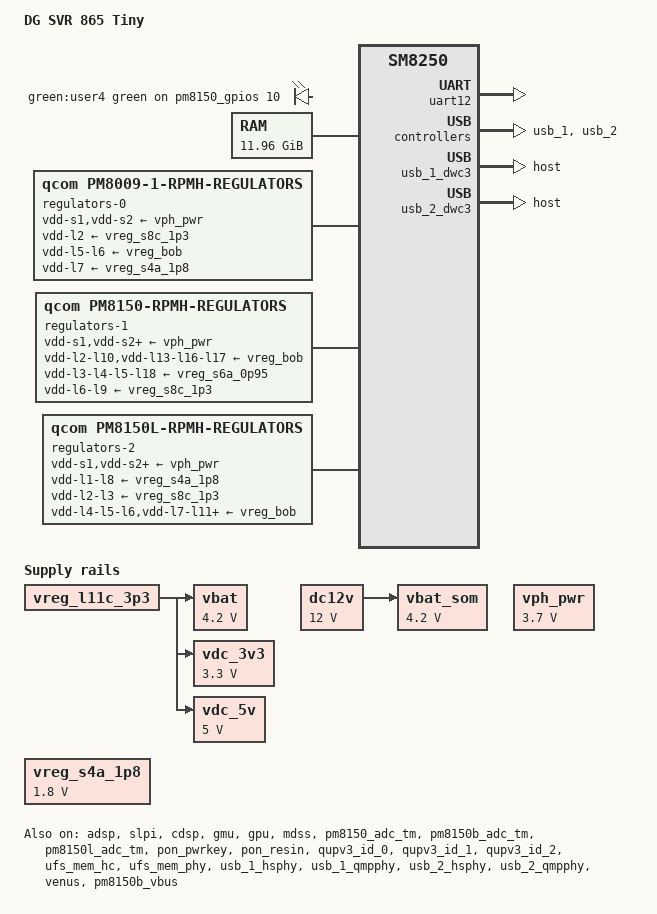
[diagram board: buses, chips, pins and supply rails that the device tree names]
// SPDX-License-Identifier: BSD-3-Clause
/*
 * Copyright (c) 2020, Linaro Ltd.
 */

/dts-v1/;

#include <dt-bindings/leds/common.h>
#include <dt-bindings/regulator/qcom,rpmh-regulator.h>
#include <dt-bindings/sound/qcom,q6afe.h>
#include <dt-bindings/sound/qcom,q6asm.h>
#include <dt-bindings/usb/pd.h>
#include "sm8250.dtsi"
#include "pm8150.dtsi"
#include "pm8150b.dtsi"
#include "pm8150l.dtsi"

/ {
	model = "DG SVR 865 Tiny";
	compatible = "qcom,qrb5165-rb5", "qcom,sm8250";
	qcom,msm-id = <455 0x20001>;
	qcom,board-id = <11 3>;

	aliases {
		serial0 = &uart12;
	};

	chosen {
		stdout-path = "serial0:115200n8";
	};

	dc12v: dc12v-regulator {
		compatible = "regulator-fixed";
		regulator-name = "DC12V";
		regulator-min-microvolt = <12000000>;
		regulator-max-microvolt = <12000000>;
		regulator-always-on;
	};

	leds {
		compatible = "gpio-leds";

		led-user4 {
			label = "green:user4";
			function = LED_FUNCTION_INDICATOR;
			color = <LED_COLOR_ID_GREEN>;
			gpios = <&pm8150_gpios 10 GPIO_ACTIVE_HIGH>;
			default-state = "off";
			panic-indicator;
		};
	};

	thermal-zones {
		conn-thermal {
			thermal-sensors = <&pm8150b_adc_tm 0>;

			trips {
				active-config0 {
					temperature = <125000>;
					hysteresis = <1000>;
					type = "critical";
				};
			};
		};

		pm8150l-pcb-thermal {
			thermal-sensors = <&pm8150l_adc_tm 1>;

			trips {
				active-config0 {
					temperature = <50000>;
					hysteresis = <4000>;
					type = "passive";
				};
			};
		};

		skin-msm-thermal {
			thermal-sensors = <&pm8150l_adc_tm 0>;

			trips {
				active-config0 {
					temperature = <50000>;
					hysteresis = <4000>;
					type = "passive";
				};
			};
		};

		xo-thermal {
			thermal-sensors = <&pm8150_adc_tm 0>;

			trips {
				active-config0 {
					temperature = <50000>;
					hysteresis = <4000>;
					type = "passive";
				};
			};
		};
	};

	vbat: vbat-regulator {
		compatible = "regulator-fixed";
		regulator-name = "VBAT";
		vin-supply = <&vreg_l11c_3p3>;
		regulator-min-microvolt = <4200000>;
		regulator-max-microvolt = <4200000>;
		regulator-always-on;
	};

	vbat_som: vbat-som-regulator {
		compatible = "regulator-fixed";
		regulator-name = "VBAT_SOM";
		vin-supply = <&dc12v>;
		regulator-min-microvolt = <4200000>;
		regulator-max-microvolt = <4200000>;
		regulator-always-on;
	};

	vdc_3v3: vdc-3v3-regulator {
		compatible = "regulator-fixed";
		regulator-name = "VDC_3V3";
		vin-supply = <&vreg_l11c_3p3>;
		regulator-min-microvolt = <3300000>;
		regulator-max-microvolt = <3300000>;
		regulator-always-on;
	};

	vdc_5v: vdc-5v-regulator {
		compatible = "regulator-fixed";
		regulator-name = "VDC_5V";

		regulator-min-microvolt = <5000000>;
		regulator-max-microvolt = <5000000>;
		regulator-always-on;
		vin-supply = <&vreg_l11c_3p3>;
	};

	vph_pwr: vph-pwr-regulator {
		compatible = "regulator-fixed";
		regulator-name = "vph_pwr";
		regulator-min-microvolt = <3700000>;
		regulator-max-microvolt = <3700000>;
		regulator-always-on;
	};

	vreg_s4a_1p8: vreg-s4a-1p8 {
		compatible = "regulator-fixed";
		regulator-name = "vreg_s4a_1p8";
		regulator-min-microvolt = <1800000>;
		regulator-max-microvolt = <1800000>;
		regulator-always-on;
	};
	memory@80000000 {
    		device_type = "memory";
    		reg = <0x00000000 0x80000000 0x00000000 0x39600000>,
       		      <0x00000000 0xc0000000 0x00000000 0x14000000>,
       		      <0x00000001 0x00000000 0x00000001 0x30000000>,
       		      <0x00000002 0x00000000 0x00000001 0x80000000>;
	};
};
&adsp {
	status = "okay";
	firmware-name = "qcom/sm8250/adsp.mbn";
};

&apps_rsc {
	regulators-0 {
		compatible = "qcom,pm8009-1-rpmh-regulators";
		qcom,pmic-id = "f";

		vdd-s1-supply = <&vph_pwr>;
		vdd-s2-supply = <&vph_pwr>;
		vdd-l2-supply = <&vreg_s8c_1p3>;
		vdd-l5-l6-supply = <&vreg_bob>;
		vdd-l7-supply = <&vreg_s4a_1p8>;

		vreg_s2f_0p95: smps2 {
			regulator-name = "vreg_s2f_0p95";
			regulator-min-microvolt = <900000>;
			regulator-max-microvolt = <952000>;
			regulator-initial-mode = <RPMH_REGULATOR_MODE_AUTO>;
		};

		vreg_l1f_1p1: ldo1 {
			regulator-name = "vreg_l1f_1p1";
			regulator-min-microvolt = <1104000>;
			regulator-max-microvolt = <1104000>;
			regulator-initial-mode = <RPMH_REGULATOR_MODE_HPM>;
		};

		vreg_l2f_1p2: ldo2 {
			regulator-name = "vreg_l2f_1p2";
			regulator-min-microvolt = <1200000>;
			regulator-max-microvolt = <1200000>;
			regulator-initial-mode = <RPMH_REGULATOR_MODE_HPM>;
		};

		vreg_l6f_2p8: ldo6 {
			regulator-name = "vreg_l6f_2p8";
			regulator-min-microvolt = <2800000>;
			regulator-max-microvolt = <2800000>;
			regulator-initial-mode = <RPMH_REGULATOR_MODE_HPM>;
		};

		vreg_l7f_1p8: ldo7 {
			regulator-name = "vreg_l7f_1p8";
			regulator-min-microvolt = <1800000>;
			regulator-max-microvolt = <1800000>;
			regulator-initial-mode = <RPMH_REGULATOR_MODE_HPM>;
		};
	};

	regulators-1 {
		compatible = "qcom,pm8150-rpmh-regulators";
		qcom,pmic-id = "a";

		vdd-s1-supply = <&vph_pwr>;
		vdd-s2-supply = <&vph_pwr>;
		vdd-s3-supply = <&vph_pwr>;
		vdd-s4-supply = <&vph_pwr>;
		vdd-s5-supply = <&vph_pwr>;
		vdd-s6-supply = <&vph_pwr>;
		vdd-s7-supply = <&vph_pwr>;
		vdd-s8-supply = <&vph_pwr>;
		vdd-s9-supply = <&vph_pwr>;
		vdd-s10-supply = <&vph_pwr>;
		vdd-l2-l10-supply = <&vreg_bob>;
		vdd-l3-l4-l5-l18-supply = <&vreg_s6a_0p95>;
		vdd-l6-l9-supply = <&vreg_s8c_1p3>;
		vdd-l7-l12-l14-l15-supply = <&vreg_s5a_1p9>;
		vdd-l13-l16-l17-supply = <&vreg_bob>;

		vreg_l2a_3p1: ldo2 {
			regulator-name = "vreg_l2a_3p1";
			regulator-min-microvolt = <3072000>;
			regulator-max-microvolt = <3072000>;
			regulator-initial-mode = <RPMH_REGULATOR_MODE_HPM>;
		};

		vreg_l3a_0p9: ldo3 {
			regulator-name = "vreg_l3a_0p9";
			regulator-min-microvolt = <928000>;
			regulator-max-microvolt = <932000>;
			regulator-initial-mode = <RPMH_REGULATOR_MODE_HPM>;
		};

		vreg_l5a_0p88: ldo5 {
			regulator-name = "vreg_l5a_0p88";
			regulator-min-microvolt = <880000>;
			regulator-max-microvolt = <880000>;
			regulator-initial-mode = <RPMH_REGULATOR_MODE_HPM>;
		};

		vreg_l6a_1p2: ldo6 {
			regulator-name = "vreg_l6a_1p2";
			regulator-min-microvolt = <1200000>;
			regulator-max-microvolt = <1200000>;
			regulator-initial-mode = <RPMH_REGULATOR_MODE_HPM>;
		};

		vreg_l7a_1p7: ldo7 {
			regulator-name = "vreg_l7a_1p7";
			regulator-min-microvolt = <1704000>;
			regulator-max-microvolt = <1800000>;
			regulator-initial-mode = <RPMH_REGULATOR_MODE_HPM>;
		};

		vreg_l9a_1p2: ldo9 {
			regulator-name = "vreg_l9a_1p2";
			regulator-min-microvolt = <1200000>;
			regulator-max-microvolt = <1200000>;
			regulator-initial-mode = <RPMH_REGULATOR_MODE_HPM>;
		};

		vreg_l10a_1p8: ldo10 {
			regulator-name = "vreg_l10a_1p8";
			regulator-min-microvolt = <1800000>;
			regulator-max-microvolt = <1800000>;
			regulator-initial-mode = <RPMH_REGULATOR_MODE_HPM>;
		};

		vreg_l12a_1p8: ldo12 {
			regulator-name = "vreg_l12a_1p8";
			regulator-min-microvolt = <1800000>;
			regulator-max-microvolt = <1800000>;
			regulator-initial-mode = <RPMH_REGULATOR_MODE_HPM>;
		};

		vreg_l13a_ts_3p0: ldo13 {
			regulator-name = "vreg_l13a_ts_3p0";
			regulator-min-microvolt = <3008000>;
			regulator-max-microvolt = <3008000>;
			regulator-initial-mode = <RPMH_REGULATOR_MODE_HPM>;
		};

		vreg_l14a_1p8: ldo14 {
			regulator-name = "vreg_l14a_1p8";
			regulator-min-microvolt = <1800000>;
			regulator-max-microvolt = <1880000>;
			regulator-initial-mode = <RPMH_REGULATOR_MODE_HPM>;
		};

		vreg_l15a_1p8: ldo15 {
			regulator-name = "vreg_l15a_1p8";
			regulator-min-microvolt = <1800000>;
			regulator-max-microvolt = <1800000>;
			regulator-initial-mode = <RPMH_REGULATOR_MODE_HPM>;
		};

		vreg_l16a_2p7: ldo16 {
			regulator-name = "vreg_l16a_2p7";
			regulator-min-microvolt = <2704000>;
			regulator-max-microvolt = <2960000>;
			regulator-initial-mode = <RPMH_REGULATOR_MODE_HPM>;
		};

		vreg_l17a_3p0: ldo17 {
			regulator-name = "vreg_l17a_3p0";
			regulator-min-microvolt = <2856000>;
			regulator-max-microvolt = <3008000>;
			regulator-initial-mode = <RPMH_REGULATOR_MODE_HPM>;
		};

		vreg_l18a_0p92: ldo18 {
			regulator-name = "vreg_l18a_0p92";
			regulator-min-microvolt = <800000>;
			regulator-max-microvolt = <912000>;
			regulator-initial-mode = <RPMH_REGULATOR_MODE_HPM>;
		};

		vreg_s5a_1p9: smps5 {
			regulator-name = "vreg_s5a_1p9";
			regulator-min-microvolt = <1904000>;
			regulator-max-microvolt = <2000000>;
			regulator-initial-mode = <RPMH_REGULATOR_MODE_HPM>;
		};

		vreg_s6a_0p95: smps6 {
			regulator-name = "vreg_s6a_0p95";
			regulator-min-microvolt = <920000>;
			regulator-max-microvolt = <1128000>;
			regulator-initial-mode = <RPMH_REGULATOR_MODE_HPM>;
		};
	};

	regulators-2 {
		compatible = "qcom,pm8150l-rpmh-regulators";
		qcom,pmic-id = "c";

		vdd-s1-supply = <&vph_pwr>;
		vdd-s2-supply = <&vph_pwr>;
		vdd-s3-supply = <&vph_pwr>;
		vdd-s4-supply = <&vph_pwr>;
		vdd-s5-supply = <&vph_pwr>;
		vdd-s6-supply = <&vph_pwr>;
		vdd-s7-supply = <&vph_pwr>;
		vdd-s8-supply = <&vph_pwr>;
		vdd-l1-l8-supply = <&vreg_s4a_1p8>;
		vdd-l2-l3-supply = <&vreg_s8c_1p3>;
		vdd-l4-l5-l6-supply = <&vreg_bob>;
		vdd-l7-l11-supply = <&vreg_bob>;
		vdd-l9-l10-supply = <&vreg_bob>;
		vdd-bob-supply = <&vph_pwr>;

		vreg_bob: bob {
			regulator-name = "vreg_bob";
			regulator-min-microvolt = <3008000>;
			regulator-max-microvolt = <4000000>;
			regulator-initial-mode = <RPMH_REGULATOR_MODE_AUTO>;
		};

		vreg_l1c_1p8: ldo1 {
			regulator-name = "vreg_l1c_1p8";
			regulator-min-microvolt = <1800000>;
			regulator-max-microvolt = <1800000>;
			regulator-initial-mode = <RPMH_REGULATOR_MODE_HPM>;
		};

		vreg_l2c_1p2: ldo2 {
			regulator-name = "vreg_l2c_1p2";
			regulator-min-microvolt = <1200000>;
			regulator-max-microvolt = <1200000>;
			regulator-initial-mode = <RPMH_REGULATOR_MODE_HPM>;
		};

		vreg_l3c_0p8: ldo3 {
			regulator-name = "vreg_l3c_0p8";
			regulator-min-microvolt = <800000>;
			regulator-max-microvolt = <800000>;
			regulator-initial-mode = <RPMH_REGULATOR_MODE_HPM>;
		};

		vreg_l4c_1p7: ldo4 {
			regulator-name = "vreg_l4c_1p7";
			regulator-min-microvolt = <1704000>;
			regulator-max-microvolt = <2928000>;
			regulator-initial-mode = <RPMH_REGULATOR_MODE_HPM>;
		};

		vreg_l5c_1p8: ldo5 {
			regulator-name = "vreg_l5c_1p8";
			regulator-min-microvolt = <1800000>;
			regulator-max-microvolt = <2928000>;
			regulator-initial-mode = <RPMH_REGULATOR_MODE_HPM>;
		};

		vreg_l6c_2p96: ldo6 {
			regulator-name = "vreg_l6c_2p96";
			regulator-min-microvolt = <1800000>;
			regulator-max-microvolt = <2960000>;
			regulator-initial-mode = <RPMH_REGULATOR_MODE_HPM>;
		};

		vreg_l7c_cam_vcm0_2p85: ldo7 {
			regulator-name = "vreg_l7c_cam_vcm0_2p85";
			regulator-min-microvolt = <2856000>;
			regulator-max-microvolt = <3104000>;
			regulator-initial-mode = <RPMH_REGULATOR_MODE_HPM>;
		};

		vreg_l8c_1p8: ldo8 {
			regulator-name = "vreg_l8c_1p8";
			regulator-min-microvolt = <1800000>;
			regulator-max-microvolt = <1800000>;
			regulator-initial-mode = <RPMH_REGULATOR_MODE_HPM>;
		};

		vreg_l9c_2p96: ldo9 {
			regulator-name = "vreg_l9c_2p96";
			regulator-min-microvolt = <2704000>;
			regulator-max-microvolt = <2960000>;
			regulator-initial-mode = <RPMH_REGULATOR_MODE_HPM>;
		};

		vreg_l10c_3p0: ldo10 {
			regulator-name = "vreg_l10c_3p0";
			regulator-min-microvolt = <3000000>;
			regulator-max-microvolt = <3000000>;
			regulator-initial-mode = <RPMH_REGULATOR_MODE_HPM>;
		};

		vreg_l11c_3p3: ldo11 {
			regulator-name = "vreg_l11c_3p3";
			regulator-min-microvolt = <3296000>;
			regulator-max-microvolt = <3296000>;
			regulator-initial-mode = <RPMH_REGULATOR_MODE_HPM>;
			regulator-always-on;
		};

		vreg_s8c_1p3: smps8 {
			regulator-name = "vreg_s8c_1p3";
			regulator-min-microvolt = <1352000>;
			regulator-max-microvolt = <1352000>;
			regulator-initial-mode = <RPMH_REGULATOR_MODE_HPM>;
		};
	};
};

&slpi {
	status = "okay";
	firmware-name = "qcom/sm8250/Thundercomm/RB5/slpi.mbn";
};

&cdsp {
	status = "okay";
	firmware-name = "qcom/sm8250/cdsp.mbn";
};

&gmu {
	status = "okay";
};

&gpu {
	status = "okay";

	zap-shader {
		memory-region = <&gpu_mem>;
		firmware-name = "qcom/sm8250/a650_zap.mbn";
	};
};

&mdss {
	status = "okay";
};

&pm8150_adc {
	channel@4c {
		reg = <ADC5_XO_THERM_100K_PU>;
		qcom,ratiometric;
		qcom,hw-settle-time = <200>;
		label = "xo_therm";
	};
};

&pm8150_adc_tm {
	status = "okay";
	xo-therm@0 {
		reg = <0>;
		io-channels = <&pm8150_adc ADC5_XO_THERM_100K_PU>;
		qcom,ratiometric;
		qcom,hw-settle-time-us = <200>;
	};
};

&pm8150_gpios {
	gpio-reserved-ranges = <1 1>, <3 2>, <7 1>;
	gpio-line-names =
		"NC",
		"OPTION2",
		"PM_GPIO-F",
		"PM_SLP_CLK_IN",
		"OPTION1",
		"VOL_UP_N",
		"PM8250_GPIO7", /* Blue LED */
		"SP_ARI_PWR_ALARM",
		"GPIO_9_P", /* Yellow LED */
		"GPIO_10_P"; /* Green LED */
};

&pm8150b_adc {
	channel@4f {
		reg = <ADC5_AMUX_THM3_100K_PU>;
		qcom,ratiometric;
		qcom,hw-settle-time = <200>;
		label = "conn_therm";
	};
};

&pm8150b_adc_tm {
	status = "okay";

	conn-therm@0 {
		reg = <0>;
		io-channels = <&pm8150b_adc ADC5_AMUX_THM3_100K_PU>;
		qcom,ratiometric;
		qcom,hw-settle-time-us = <200>;
	};
};

&pm8150b_gpios {
	gpio-line-names =
		"NC",
		"NC",
		"NC",
		"NC",
		"HAP_BOOST_EN", /* SOM */
		"SMB_STAT", /* SOM */
		"NC",
		"NC",
		"SDM_FORCE_USB_BOOT",
		"NC",
		"NC",
		"NC";
};

&pm8150l_adc {
	channel@4e {
		reg = <ADC5_AMUX_THM2_100K_PU>;
		qcom,ratiometric;
		qcom,hw-settle-time = <200>;
		label = "skin_msm_therm";
	};

	channel@4f {
		reg = <ADC5_AMUX_THM3_100K_PU>;
		qcom,ratiometric;
		qcom,hw-settle-time = <200>;
		label = "pm8150l_therm";
	};
};

&pm8150l_adc_tm {
	status = "okay";

	skin-msm-therm@0 {
		reg = <0>;
		io-channels = <&pm8150l_adc ADC5_AMUX_THM2_100K_PU>;
		qcom,ratiometric;
		qcom,hw-settle-time-us = <200>;
	};

	pm8150l-therm@1 {
		reg = <1>;
		io-channels = <&pm8150l_adc ADC5_AMUX_THM3_100K_PU>;
		qcom,ratiometric;
		qcom,hw-settle-time-us = <200>;
	};
};

&pm8150l_gpios {
	gpio-line-names =
		"NC",
		"PM3003A_EN",
		"NC",
		"NC",
		"PM_GPIO5", /* HDMI RST_N */
		"PM_GPIO-A", /* PWM */
		"PM_GPIO7",
		"NC",
		"NC",
		"PM_GPIO-B",
		"NC",
		"PM3003A_MODE";
};

&pon_pwrkey {
	status = "okay";
};

&pon_resin {
	status = "okay";

	linux,code = <KEY_VOLUMEDOWN>;
};

&qupv3_id_0 {
	status = "okay";
};

&qupv3_id_1 {
	status = "okay";
};

&qupv3_id_2 {
	status = "okay";
};

&lpass_tlmm {
	status = "disabled";
};

&uart12 {
	status = "okay";
};

&ufs_mem_hc {
	status = "okay";

	vcc-supply = <&vreg_l17a_3p0>;
	vcc-max-microamp = <800000>;
	vccq-supply = <&vreg_l6a_1p2>;
	vccq-max-microamp = <800000>;
	vccq2-supply = <&vreg_s4a_1p8>;
	vccq2-max-microamp = <800000>;
};

&ufs_mem_phy {
	status = "okay";
	
	vdda-phy-supply = <&vreg_l5a_0p88>;
	vdda-pll-supply = <&vreg_l9a_1p2>;
};

&usb_1 {
	status = "okay";
};

&usb_1_dwc3 {
	dr_mode = "host";
	//usb-role-switch;
};

&usb_1_hsphy {
	status = "okay";

	vdda-pll-supply = <&vreg_l5a_0p88>;
	vdda33-supply = <&vreg_l2a_3p1>;
	vdda18-supply = <&vreg_l12a_1p8>;
};

&usb_1_qmpphy {
	status = "okay";

	vdda-phy-supply = <&vreg_l9a_1p2>;
	vdda-pll-supply = <&vreg_l18a_0p92>;
};

&usb_2 {
	status = "okay";
};

&usb_2_dwc3 {
	dr_mode = "host";
};

&usb_2_hsphy {
	status = "okay";

	vdda-pll-supply = <&vreg_l5a_0p88>;
	vdda33-supply = <&vreg_l2a_3p1>;
	vdda18-supply = <&vreg_l12a_1p8>;
};

&usb_2_qmpphy {
	status = "okay";

	vdda-phy-supply = <&vreg_l9a_1p2>;
	vdda-pll-supply = <&vreg_l18a_0p92>;
};

&venus {
	status = "okay";
};

/* PINCTRL - additions to nodes defined in sm8250.dtsi */
&qup_spi0_cs_gpio {
	drive-strength = <6>;
	bias-disable;
};

&qup_spi0_data_clk {
	drive-strength = <6>;
	bias-disable;
};

&pm8150b_vbus {
	regulator-min-microamp = <500000>;
	regulator-max-microamp = <3000000>;
	status = "okay";
};
